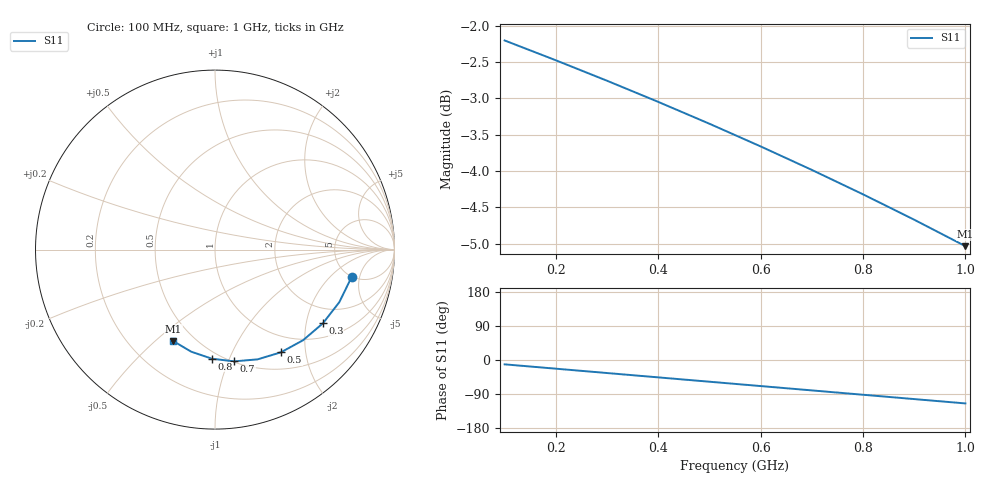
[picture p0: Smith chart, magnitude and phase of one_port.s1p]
! one-port test file
!  second comment line
# MHz S DB R 50
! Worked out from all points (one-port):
!   10 points, 100 MHz to 1 GHz, reference 50 ohm
!   lowest |S11| = -5.0 dB at 1 GHz (marker M1), VSWR 3.55, Z = 19.3 - j28.6 ohm
!   |S11| at or under -10 dB: nowhere
!   S11 on the Smith chart (normalised r, x): 100 MHz: 4.90, -3.80; 300 MHz: 1.43, -2.50; 500 MHz: 0.74, -1.57; 700 MHz: 0.51, -1.05; 800 MHz: 0.45, -0.87; 1 GHz: 0.39, -0.57
100  -2.20 -11.5
200  -2.48 -22.9
300  -2.76 -34.4
400  -3.05 -45.8
500  -3.35 -57.3
600  -3.66 -68.8
700  -3.99 -80.2
800  -4.32 -91.7
900  -4.67 -103.1
1000  -5.04 -114.6
